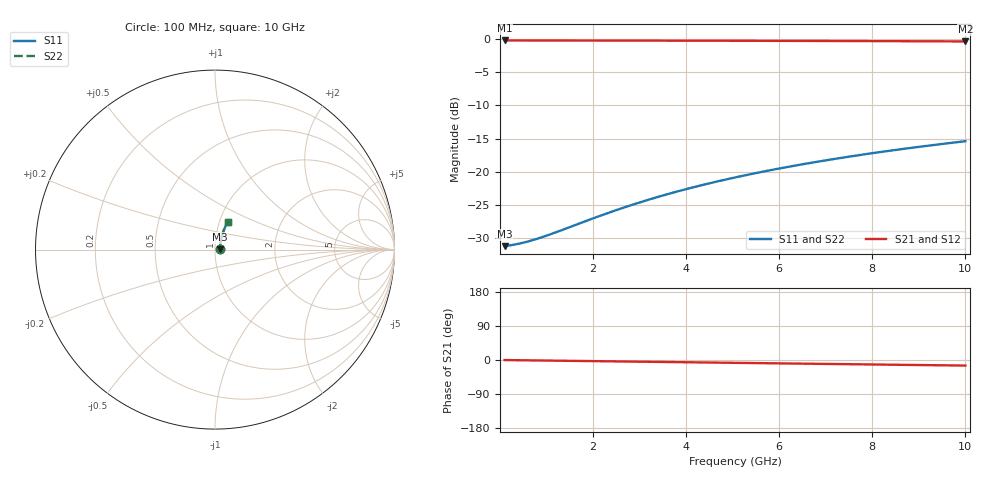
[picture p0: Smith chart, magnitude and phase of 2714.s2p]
# Hz S RI R 50.00
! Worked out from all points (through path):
!   100 points, 100 MHz to 10 GHz, reference 50 ohm
!   highest |S21| = -0.24 dB at 100 MHz (marker M1); lowest = -0.4 dB at 10 GHz (marker M2)
!   group delay of S21, straight-line fit = 4.09 ps
!   lowest |S11| = -31.2 dB at 100 MHz (marker M3), VSWR 1.06, Z = 52.8 + j0.174 ohm
!   |S11| at or under -10 dB: start of sweep to end of sweep
!   |S22| runs from -31.2 to -15.4 dB; largest |S21 - S12| = 0
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1e8  0.0276 0.00164  0.9724 -0.00252  0.9724 -0.00252  0.0276 0.00164
3e8  0.0279 0.00492  0.9721 -0.00756  0.9721 -0.00756  0.0279 0.00492
4e8  0.028 0.00656  0.972 -0.0101  0.972 -0.0101  0.028 0.00656
6e8  0.0283 0.00983  0.9717 -0.0151  0.9717 -0.0151  0.0283 0.00983
8e8  0.0285 0.0131  0.9714 -0.0202  0.9714 -0.0202  0.0285 0.0131
1.2e9  0.0291 0.0196  0.9708 -0.0302  0.9708 -0.0302  0.0291 0.0196
1.8e9  0.0301 0.0294  0.9698 -0.0453  0.9698 -0.0453  0.0301 0.0294
2.2e9  0.0309 0.0359  0.9689 -0.0553  0.9689 -0.0553  0.0309 0.0359
2.6e9  0.0318 0.0424  0.9679 -0.0653  0.9679 -0.0653  0.0318 0.0424
3e9  0.0329 0.0488  0.9668 -0.0753  0.9668 -0.0753  0.0329 0.0488
3.4e9  0.034 0.0552  0.9655 -0.0852  0.9655 -0.0852  0.034 0.0552
3.8e9  0.0353 0.0616  0.9641 -0.0951  0.9641 -0.0951  0.0353 0.0616
4.2e9  0.0367 0.068  0.9625 -0.105  0.9625 -0.105  0.0367 0.068
4.6e9  0.0383 0.0743  0.9608 -0.1148  0.9608 -0.1148  0.0383 0.0743
5.1e9  0.0404 0.0821  0.9585 -0.1271  0.9585 -0.1271  0.0404 0.0821
5.5e9  0.0422 0.0883  0.9565 -0.1368  0.9565 -0.1368  0.0422 0.0883
5.9e9  0.0442 0.0945  0.9544 -0.1466  0.9544 -0.1466  0.0442 0.0945
6.7e9  0.0484 0.1067  0.9497 -0.1658  0.9497 -0.1658  0.0484 0.1067
7.5e9  0.0532 0.1187  0.9445 -0.1849  0.9445 -0.1849  0.0532 0.1187
8.4e9  0.0591 0.1319  0.9381 -0.206  0.9381 -0.206  0.0591 0.1319
9.2e9  0.0648 0.1433  0.9318 -0.2245  0.9318 -0.2245  0.0648 0.1433
1e10  0.071 0.1544  0.925 -0.2428  0.925 -0.2428  0.071 0.1544
